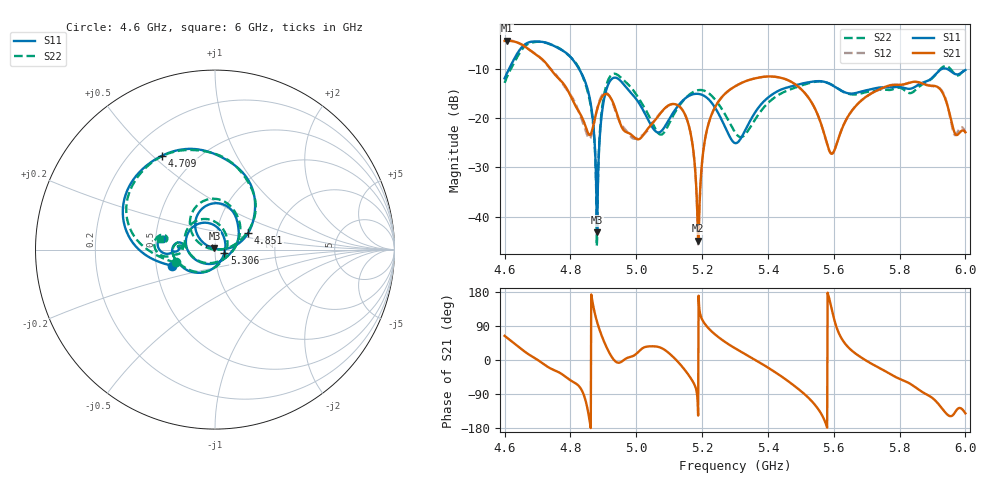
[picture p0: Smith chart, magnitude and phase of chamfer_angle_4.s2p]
! TOUCHSTONE file generated by CST MICROWAVE STUDIO
! Date and time: Sat Nov 30 03:29:15 2024
! Project name: test_tuning.cst
! Parameters = {airCoaxOuterDiameter=3; chamferAngle=41; chamferWidth=24; connectorLength=10; drillingHoleDiameter=4.1; feedLength=60; flareDiameter=130; flareLength=70; gratingDistance=0; gratingGap=1.90274; outletLength=30; polarizerLength=134; probe1Diameter=1.3; probe1Distance=14; probe1Length=1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
! Header version: 2024
! Port assignment regex: !\s*Touchstone port\s*([0-9]+)\s*=\s*(CST MWS port|CST DES external port|CST DES block port)\s*(.+)\s* \(\"(.*)\"\)(\s*mode\s*([0-9]+))?.*
! Touchstone port assignment:
! Touchstone port 1 = CST MWS port 1 ("Input1")
! Touchstone port 2 = CST MWS port 2 ("Input2")
# GHz S MA R 50
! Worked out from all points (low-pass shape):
!   1001 points, 4.6 GHz to 6 GHz, reference 50 ohm
!   highest |S21| = -4.24 dB at 4.608 GHz (marker M1); lowest = -44.9 dB at 5.188 GHz (marker M2)
!   |S21| within 3 dB of the highest: start of sweep to 4.699 GHz
!   lowest |S11| = -43.2 dB at 4.881 GHz (marker M3), VSWR 1.01, Z = 49.7 + j0.615 ohm
!   |S11| at or under -10 dB: start of sweep to 4.613294 GHz; 4.826 GHz to 5.928 GHz (1.101 GHz wide, 20.5 % of centre); 5.945 GHz to end of sweep
!   |S22| runs from -46.0 to -4.4 dB; largest |S21 - S12| = 0.0087
!   S11 on the Smith chart (normalised r, x): 4.6 GHz: 0.61, -0.12; 4.709 GHz: 0.33, +0.54; 4.851 GHz: 1.42, +0.27; 5.306 GHz: 1.11, -0.05; 6 GHz: 0.53, +0.07
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4.6  0.2546 -159.4  0.611 63.8  0.6081 64.4  0.229 -162.0
4.6084  0.2928 -164.5  0.6138 58.0  0.6164 58.5  0.269 -167.3
4.6588  0.5533 158.2  0.5444 23.5  0.5397 23.7  0.5281 158.9
4.7092  0.6004 119.2  0.4111 -4.9  0.409 -5.7  0.5982 119.6
4.8338  0.2851 40.2  0.1042 -78.8  0.09827 -81.9  0.2845 39.4
4.8506  0.206 26.5  0.07466 -123.5  0.0678 -120.4  0.1964 27.1
4.8814  0.006931 116.8  0.1241 99.0  0.1254 102.3  0.006237 170.9
4.8996  0.1398 137.5  0.1709 53.9  0.1776 54.1  0.1532 145.5
4.9262  0.252 99.0  0.1524 7.2  0.1487 5.5  0.2784 103.1
4.992  0.1688 38.5  0.06485 11.3  0.0619 13.6  0.1902 42.2
5.0676  0.0716 -61.3  0.1059 34.4  0.1073 34.0  0.07008 -50.4
5.1488  0.1592 174.9  0.1077 -27.6  0.1078 -27.7  0.1591 176.7
5.1698  0.1743 154.9  0.05734 -53.8  0.05703 -54.0  0.1823 157.1
5.188  0.177 137.7  0.005684 -146.6  0.005202 -147.9  0.1929 139.8
5.2216  0.1536 104.8  0.09281 81.7  0.09264 82.1  0.1782 106.8
5.3  0.05593 -8.5  0.2108 31.0  0.2113 31.0  0.07198 15.5
5.3056  0.05614 -22.0  0.2161 28.2  0.2164 28.1  0.06794 5.1
5.5338  0.2352 -172.5  0.1429 -109.3  0.1426 -109.1  0.2314 -169.3
5.5954  0.2166 170.1  0.04363 128.5  0.04362 128.6  0.2182 170.8
5.7676  0.2058 175.5  0.2145 -35.1  0.215 -34.6  0.1936 176.1
5.9146  0.2923 -176.7  0.2087 -112.5  0.2073 -111.7  0.291 -172.9
6  0.3092 169.0  0.07206 -140.8  0.07082 -147.7  0.3141 169.4
